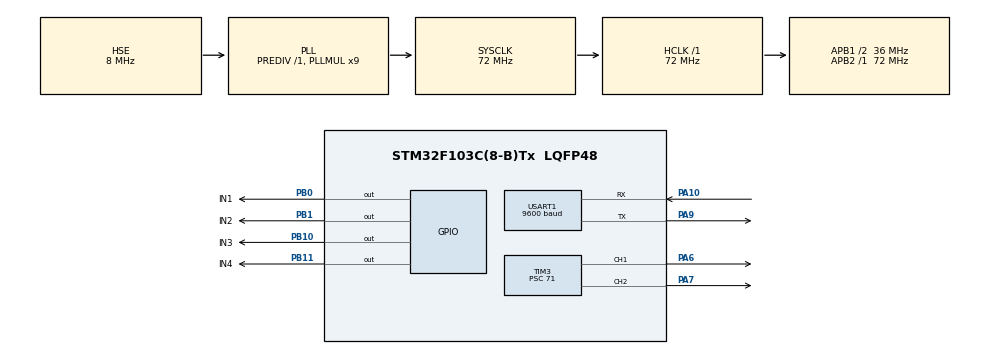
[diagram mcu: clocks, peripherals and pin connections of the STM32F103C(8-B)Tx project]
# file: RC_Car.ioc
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Mcu.Family=STM32F1
Mcu.Name=STM32F103C(8-B)Tx
Mcu.Package=LQFP48
NVIC.PriorityGroup=NVIC_PRIORITYGROUP_4
NVIC.USART1_IRQn=true\:0\:0\:false\:false\:true\:true\:true\:true
PA10.Mode=Asynchronous
PA10.Signal=USART1_RX
PA13.Mode=Serial_Wire
PA13.Signal=SYS_JTMS-SWDIO
PA14.Mode=Serial_Wire
PA14.Signal=SYS_JTCK-SWCLK
PA6.Signal=S_TIM3_CH1
PA7.Signal=S_TIM3_CH2
PA9.Mode=Asynchronous
PA9.Signal=USART1_TX
PB0.GPIO_Label=IN1
PB0.Signal=GPIO_Output
PB1.GPIO_Label=IN2
PB1.Signal=GPIO_Output
PB10.GPIO_Label=IN3
PB10.Signal=GPIO_Output
PB11.GPIO_Label=IN4
PB11.Signal=GPIO_Output
PD0-OSC_IN.Mode=HSE-External-Oscillator
PD0-OSC_IN.Signal=RCC_OSC_IN
PD1-OSC_OUT.Mode=HSE-External-Oscillator
PD1-OSC_OUT.Signal=RCC_OSC_OUT
ProjectManager.HeapSize=0x200
ProjectManager.StackSize=0x400
ProjectManager.TargetToolchain=MDK-ARM V5
RCC.AHBFreq_Value=72000000
RCC.APB1CLKDivider=RCC_HCLK_DIV2
RCC.APB1Freq_Value=36000000
RCC.APB1TimFreq_Value=72000000
RCC.APB2Freq_Value=72000000
RCC.APB2TimFreq_Value=72000000
RCC.HCLKFreq_Value=72000000
RCC.PLLMUL=RCC_PLL_MUL9
RCC.PLLSourceVirtual=RCC_PLLSOURCE_HSE
RCC.SYSCLKFreq_VALUE=72000000
RCC.SYSCLKSource=RCC_SYSCLKSOURCE_PLLCLK
RCC.USBFreq_Value=72000000
SH.S_TIM3_CH1.0=TIM3_CH1,PWM Generation1 CH1
SH.S_TIM3_CH2.0=TIM3_CH2,PWM Generation2 CH2
TIM3.Channel-PWM\ Generation1\ CH1=TIM_CHANNEL_1
TIM3.Channel-PWM\ Generation2\ CH2=TIM_CHANNEL_2
TIM3.Period=999
TIM3.Prescaler=71
USART1.BaudRate=9600
USART1.VirtualMode=VM_ASYNC
board=custom

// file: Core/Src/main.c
/* USER CODE BEGIN Header */
/**
  ******************************************************************************
  * @file           : main.c
  * @brief          : Main program body
  ******************************************************************************
  * @attention
  *
  * Copyright (c) 2026 STMicroelectronics.
  * All rights reserved.
  *
  * This software is licensed under terms that can be found in the LICENSE file
  * in the root directory of this software component.
  * If no LICENSE file comes with this software, it is provided AS-IS.
  *
  ******************************************************************************
  */
/* USER CODE END Header */
#include "main.h"

/* USER CODE BEGIN PD */

#define PWM_MAX          1000   /* ARR+1：PWM 满量程 */
#define SPEED            1000   /* 默认速度（占空比 100%）。排查阶段先拉满，确认电机能转
                                   再按需往下调；正式玩的时候建议 600~800 */
#define CAR_TIMEOUT_MS   10000  /* 指令保持时间 / 断连保护，单位 ms
                                   · 收到方向指令后车一直按该方向走，直到收到 S 或别的方向
                                   · 只有超过这么久一个合法指令都收不到，才自动停车当兜底
                                   · 手机 App 不支持连发时，这个值就等于"一次指令能走多久"：
                                     10 秒足够看清动作，手机真掉线了车也不会跑飞 */
#define SPEED_STEP       111    /* 档位 1~9 每档对应的 PWM 值（9×111≈999） */
#define SPEED_MIN        300    /* 最低运行速度。低于这个占空比电机维持不住转动
                                   （实测 250 即约 1V 只能空响，转不起来） */
#define KICK_MS          150    /* 起步 boost 持续时间，单位 ms
                                   从静止切换运动时先给满占空比冲刺这么久，
                                   帮电机突破静摩擦，之后回落到目标档位 */

/* 调试回显开关：1=手机发什么字符，单片机就原样发回去（用来确认蓝牙链路双向通）
   验收阶段保持 1；车能正常开了以后改成 0，模组就只会"听"不会"说" */
#define DEBUG_UART_ECHO  1

/* 每秒心跳：1=单片机每秒往手机发一次 "OK\r\n"
   注意这会和回显混在一起，手机屏幕上会一直刷。排查阶段够用了，现在关掉 */
#define DEBUG_UART_HEARTBEAT 0

/* ===== 串口波特率 =====
   2026-11-01 晚：由 9600 降到 2400。
   原因：模块 TXD 是弱输出（空载实测 0.99V，加上 MCU 内部 40k 上拉才 3.27V），
         高电平全靠内部弱上拉拉起来，边沿上升很慢。9600 下每位只有 104us，
         采样点被慢边沿拖到位的交界处，实测几乎每个字节都错 1 个 bit
         （F->B、L->D、R->V、9->非法字符），错误率接近 100%。
   2400 波特率下每位 417us，慢边沿有充足时间充到位，抗这种问题的余量是 9600 的 4 倍。
   ⚠️ 改完必须同步把 HC-05 波特率也改掉：AT+UART=2400,0,0
   注意：本值必须和模块一致，否则一个字节都收不到 */
#define UART_BAUD_TEST   2400

/* ===== 静默诊断开关 =====
   置 1：单片机完全不发任何串口数据，只用板载 LED 快闪表示程序在跑。
         2026-11-01 已验证结论：静默时手机不再刷乱码 → 乱码确实是单片机发出的数据
   置 0：关闭静默（现在已定位完成，改回 0） */
#define UART_SILENT_TEST 0

/* ===== 波特率自动扫描（当前 = 1，正在找模块真正的波特率）=====
   置 1：固件每 5 秒自动换一个波特率，同时发 "OK"，用 LED 闪几下表示当前是第几个：
             1 = 9600     2 = 19200    3 = 38400
             4 = 57600    5 = 115200   6 = 4800
         手机里出现干干净净的 "OK" 时，回想 LED 刚才闪了几下，就知道模块是多少。
   置 0：关闭扫描（找到正确值后，把 UART_BAUD_TEST 改成它，再把这个改 0） */
#define UART_SCAN_MODE   0

/* ===== 单片机串口自检（当前 = 0，已完成使命）=====
   2026-11-01 结论：自检通过（PC13 每 2 秒快闪 3 下）→ PA9/PA10 收发正常。
   同日用 USB-TTL 直连模块跑 AT 指令，8 条全回 OK（固件 2.0-20100601，
   UART=9600,0,0，ROLE=0，PSWD=1234）→ 模块也是好的。
   所以现在改回 0，进入正常工作模式。 */
#define UART_SELFTEST_MODE 0

/* USER CODE END PD */

TIM_HandleTypeDef htim3;

UART_HandleTypeDef huart1;

/* USER CODE BEGIN PV */

uint8_t  rx_byte;                    /* 串口中断每收到 1 字节就存这里 */
volatile uint8_t  car_cmd = 'S';     /* 最新收到的指令（volatile：中断和主循环共享） */
volatile uint32_t last_cmd_tick = 0; /* 最后一次收到指令的时刻（ms） */

/* 收到"任意"字节的累计数（不管合不合法、不管是不是噪声）。
   主循环盯它变化与否，就能判断线上到底有没有数据进来 —— 这是排查链路的关键仪表 */
volatile uint32_t rx_any_cnt = 0;

static uint16_t g_speed = SPEED;     /* 当前速度 */
/* 注意必须是 int8_t（有符号）：要能存 -1。用 uint8_t 存 -1 会变成 255，后退永远失效 */
static int8_t   g_dir   = 0;         /* 当前方向：0停 1前 -1后 2左 3右 */

#if DEBUG_UART_ECHO
volatile uint8_t echo_pending = 0;   /* 中断置 1，主循环负责把收到的字符发回手机 */
volatile uint8_t echo_char    = 0;   /* 要回显的字符 */
#endif

#if UART_SELFTEST_MODE
volatile uint32_t selftest_rx_cnt = 0;   /* 自检时：成功收回来的 0x55 计数 */
#endif

/* USER CODE END PV */

void SystemClock_Config(void);
static void MX_GPIO_Init(void);
static void MX_TIM3_Init(void);
static void MX_USART1_UART_Init(void);
/* USER CODE BEGIN PFP */

static void Motor_Left(int dir);
static void Motor_Right(int dir);
static void Car_Run(int dir, uint16_t speed);
static void Car_TurnLeft(uint16_t speed);
static void Car_TurnRight(uint16_t speed);
static void Car_Stop(void);
static uint8_t Cmd_IsValid(uint8_t c);
#if UART_SCAN_MODE
static void UART_ScanApply(uint8_t idx);
#endif

/* USER CODE END PFP */

int main(void)
{

  /* MCU Configuration--------------------------------------------------------*/

  /* Reset of all peripherals, Initializes the Flash interface and the Systick. */
  HAL_Init();

  /* Configure the system clock */
  SystemClock_Config();

  /* Initialize all configured peripherals */
  MX_GPIO_Init();
  MX_TIM3_Init();
  MX_USART1_UART_Init();
  /* USER CODE BEGIN 2 */

  HAL_TIM_PWM_Start(&htim3, TIM_CHANNEL_1);
  HAL_TIM_PWM_Start(&htim3, TIM_CHANNEL_2);
  Car_Stop();

  /* 打开串口中断接收：收满 1 字节会自动调用 HAL_UART_RxCpltCallback */

  /* ---- 临时覆盖波特率（在 USER CODE 区里，CubeMX 重新生成也不会被冲掉）---- */
  huart1.Init.BaudRate = UART_BAUD_TEST;
  if (HAL_UART_Init(&huart1) != HAL_OK) { Error_Handler(); }

  /* ============ 关键修复：USART1_RX(PA10) 必须开内部上拉 ============
     CubeMX 默认把它生成成 GPIO_NOPULL（浮空输入），这是有问题的：
       · HC-05 模块的 TXD 输出串了限流电阻，驱动能力偏弱
       · 引脚浮空时，整条线（PA10 + 杜邦线 + 模块TXD）会被吊在 0.99V 左右
       · STM32 判不出高电平，UART 一个字节也解析不出来 → 看起来"完全没数据"
     佐证：同一根线上接 CH340 就能收到数据，因为 CH340 的 RXD 内部自带
           上拉电阻，把弱驱动信号拉起来了。换成 STM32 浮空输入就废了。
     注意：本段必须在 HAL_UART_Init() 之后执行，因为 MspInit 里会重新配 GPIO。
     ================================================================= */
  {
    GPIO_InitTypeDef rx_init = {0};
    rx_init.Pin  = GPIO_PIN_10;          /* USART1_RX */
    rx_init.Mode = GPIO_MODE_INPUT;
    rx_init.Pull = GPIO_PULLUP;          /* 空闲时被拉到 3.3V，才能识别起始位 */
    HAL_GPIO_Init(GPIOA, &rx_init);
  }

  HAL_UART_Receive_IT(&huart1, &rx_byte, 1);
  last_cmd_tick = HAL_GetTick();

  /* 诊断用：把板载 LED（PC13）配成输出，作为"程序还活着"的指示灯 */
  __HAL_RCC_GPIOC_CLK_ENABLE();
  {
    GPIO_InitTypeDef led_init = {0};
    led_init.Pin   = GPIO_PIN_13;
    led_init.Mode  = GPIO_MODE_OUTPUT_PP;
    led_init.Pull  = GPIO_NOPULL;
    led_init.Speed = GPIO_SPEED_FREQ_LOW;
    HAL_GPIO_Init(GPIOC, &led_init);
    HAL_GPIO_WritePin(GPIOC, GPIO_PIN_13, GPIO_PIN_SET);   /* PC13 低电平点亮，先灭掉 */
  }

  /* USER CODE END 2 */

  /* Infinite loop */
  while (1)
  {

    /* USER CODE BEGIN 3 */
    uint8_t cmd = car_cmd;            /* 先拷贝一份，避免读的过程中被中断改掉 */

    /* ================= 板载 LED 诊断仪表（PC13，低电平点亮） =================
       灯默认灭，只有两种情况会亮 150ms 然后自己灭：

       ① 每 2 秒亮一次（心跳）→ 证明程序在跑、没卡死
          灯从来不亮 = 没供电 / 固件没烧进去 / 程序死在启动阶段

       ② 每收到一个串口字节就亮一次 → 证明单片机从 PA9 真收到数据了

       怎么读：
         没发数据时        → 每 2 秒稳稳闪一下         = 单片机活着
         手机发数据时      → 闪成一片、密集闪烁         = 收到了，链路通
         手机发数据时      → 还是每 2 秒一下、没变化    = 单片机压根没收到 → PA9 断了
         收到数据有闪、手机却无回显 → PA10 到模块 TXD 这条线断了
       ==================================================================== */
    static uint32_t beat_tick    = 0;   /* 心跳计时 */
    static uint32_t led_off_tick = 0;   /* 灭灯计时 */
    static uint32_t last_rx_any  = 0;   /* 上一次看到的收字节计数 */
    static uint8_t  led_on       = 0;   /* 灯当前是否亮着 */

    uint8_t want_on = 0;

    if ((HAL_GetTick() - beat_tick) >= 2000)        /* ① 心跳：每 2 秒 */
    {
      beat_tick = HAL_GetTick();
      want_on = 1;
    }

    if (rx_any_cnt != last_rx_any)                  /* ② 收到字节：来一个闪一次 */
    {
      last_rx_any = rx_any_cnt;
      want_on = 1;
    }

    if (want_on && !led_on)
    {
      HAL_GPIO_WritePin(GPIOC, GPIO_PIN_13, GPIO_PIN_RESET);   /* 低电平点亮 */
      led_on = 1;
      led_off_tick = HAL_GetTick();
    }
    else if (led_on && ((HAL_GetTick() - led_off_tick) >= 150))
    {
      HAL_GPIO_WritePin(GPIOC, GPIO_PIN_13, GPIO_PIN_SET);     /* 高电平熄灭 */
      led_on = 0;
    }

#if UART_SCAN_MODE && !UART_SELFTEST_MODE
    /* ---- 波特率自动扫描 ----
       每 5 秒换一个波特率，换的时候 LED 先闪 N 下，N 就是当前编号：
       1=9600  2=19200  3=38400  4=57600  5=115200  6=4800
       手机上看到干净的 "OK" 时，回想 LED 闪了几下即可 */
    static uint8_t  scan_idx   = 0;
    static uint32_t scan_tick  = 0;
    static uint32_t send_tick  = 0;
    static uint8_t  blink_left = 0;
    static uint32_t blink_tick = 0;
    static uint8_t  first_run  = 1;

    if (first_run)                    /* 第一轮：9600，先闪 1 下 */
    {
      first_run  = 0;
      blink_left = 2;
      blink_tick = HAL_GetTick();
      scan_tick  = HAL_GetTick();
      send_tick  = HAL_GetTick();
    }

    if ((HAL_GetTick() - scan_tick) >= 5000)
    {
      scan_tick  = HAL_GetTick();
      scan_idx   = (uint8_t)((scan_idx + 1U) % 6U);
      UART_ScanApply(scan_idx);                       /* 切波特率 */
      blink_left = (uint8_t)((scan_idx + 1U) * 2U);   /* 闪 N 下 = 翻转 2N 次 */
      blink_tick = HAL_GetTick();
      send_tick  = HAL_GetTick();
    }

    if ((blink_left > 0U) && ((HAL_GetTick() - blink_tick) >= 300))
    {
      blink_tick = HAL_GetTick();
      HAL_GPIO_TogglePin(GPIOC, GPIO_PIN_13);
      blink_left--;
    }

    if ((HAL_GetTick() - send_tick) >= 1000)          /* 每秒发一次 OK */
    {
      send_tick = HAL_GetTick();
      if (HAL_UART_Transmit(&huart1, (uint8_t *)"OK\r\n", 4, 50) != HAL_OK)
      {
        huart1.gState = HAL_UART_STATE_READY;         /* 防卡死在 BUSY_TX */
      }
    }
#endif

#if UART_SELFTEST_MODE
    /* ---- 单片机串口自检：自己发 0x55，从 PA10 收回来 ----
       前提：PA9 与 PA10 用一根杜邦线短接，蓝牙模块的数据线全部拔掉 */
    static uint32_t st_tx_tick = 0, st_chk_tick = 0, st_blink_tick = 0;
    static uint8_t  st_blink = 0;

    if ((HAL_GetTick() - st_tx_tick) >= 300)
    {
      uint8_t u = 0x55;
      st_tx_tick = HAL_GetTick();
      if (HAL_UART_Transmit(&huart1, &u, 1, 5) != HAL_OK)
      {
        huart1.gState = HAL_UART_STATE_READY;
      }
    }

    if ((HAL_GetTick() - st_chk_tick) >= 2000)   /* 每 2 秒结算一次 */
    {
      st_chk_tick = HAL_GetTick();
      st_blink = (selftest_rx_cnt >= 3U) ? 6U : 2U;   /* 通：翻转6次(闪3下)；不通：翻转2次(闪1下) */
      selftest_rx_cnt = 0;
      st_blink_tick = HAL_GetTick();
    }

    if ((st_blink > 0U) && ((HAL_GetTick() - st_blink_tick) >= 120))
    {
      st_blink_tick = HAL_GetTick();
      HAL_GPIO_TogglePin(GPIOC, GPIO_PIN_13);
      st_blink--;
    }
#endif

#if UART_SILENT_TEST
    /* ---- 静默诊断：一个字节都不发，只用 LED 快闪表示程序在跑 ----
       如果这时候手机上还有乱码，那就跟单片机发送无关，是线路噪声/模块自己吐的 */
    static uint32_t led_tick = 0;
    if ((HAL_GetTick() - led_tick) >= 150)
    {
      led_tick = HAL_GetTick();
      HAL_GPIO_TogglePin(GPIOC, GPIO_PIN_13);
    }
#endif

#if DEBUG_UART_ECHO && !UART_SILENT_TEST && !UART_SCAN_MODE && !UART_SELFTEST_MODE
    /* ---- 0. 调试专用：回显 + 每秒心跳（链路通了以后把 DEBUG_UART_ECHO 改 0 即可关掉） ---- */
    static uint32_t dbg_tick = 0;

    if (echo_pending)                 /* 收到字符 → 原样发回手机 */
    {
      uint8_t ch = echo_char;
      echo_pending = 0;
      /* HAL 的已知坑：发送超时后 gState 会卡在 BUSY_TX，之后所有发送都被拒。
         所以失败后手动复位状态，否则会"突然彻底发不出去" */
      /* 超时从 5ms 放宽到 20ms：2400 波特率下 1 字节要 4.2ms，
         5ms 太贴边，偶发一次超时就会把 gState 卡死 */
      if (HAL_UART_Transmit(&huart1, &ch, 1, 20) != HAL_OK)
      {
        huart1.gState = HAL_UART_STATE_READY;
      }
    }

    if (DEBUG_UART_HEARTBEAT && (HAL_GetTick() - dbg_tick) >= 1000)   /* 每秒发一次 "OK"，验证单片机→蓝牙方向 */
    {
      dbg_tick = HAL_GetTick();
      if (HAL_UART_Transmit(&huart1, (uint8_t *)"OK\r\n", 4, 50) != HAL_OK)
      {
        huart1.gState = HAL_UART_STATE_READY;
      }
    }
#endif

    /* ---- 1. 解析指令 ---- */
    if (cmd >= '1' && cmd <= '9')     /* 1~9 = 调速，不改变行驶方向 */
    {
      g_speed = (uint16_t)(cmd - '0') * SPEED_STEP;
      /* 保底：占空比太低电机维持不住转动。有了下面的起步 boost，
         静止时低档也能起步，但运行中仍需要这个下限兜住 */
      if (g_speed < SPEED_MIN) g_speed = SPEED_MIN;
    }
    else if (cmd == '0')              /* 0 = 停车（比 1 还慢没有意义，直接当停车键用） */
    {
      g_dir = 0;
    }

    switch (cmd)
    {
      case 'F': g_dir = 1;  break;    /* 前进 */
      case 'B': g_dir = -1; break;    /* 后退 */
      case 'L': g_dir = 2;  break;    /* 原地左转 */
      case 'R': g_dir = 3;  break;    /* 原地右转 */
      case 'S': g_dir = 0;  break;    /* 停车 */
      default: break;                 /* 其他字符忽略 */
    }

    /* ---- 2. 断连保护：太久没收到指令就停车 ---- */
    if ((HAL_GetTick() - last_cmd_tick) > CAR_TIMEOUT_MS)
    {
      g_dir = 0;
    }

    /* ---- 3. 按当前方向和速度执行 ---- */
#if UART_SILENT_TEST || UART_SCAN_MODE || UART_SELFTEST_MODE
    Car_Stop();      /* 诊断模式：不管收到什么都停车，防止线上噪声把车开走 */
#else
    /* ================= 起步 boost（kick start） =================
       直流电机的启动扭矩（要克服静摩擦）远大于维持扭矩（动摩擦）。
       实测（电池 5.72V，电机端约 4V）：
         · 静止直接给 3~7 档 → 只有堵转嗡响，8 档才起得来
         · 但转起来后从 8 档降到 2 档 → 仍能维持慢速转动
       对策：从"停"切到"走"（或反向）的瞬间，先给满占空比冲刺 KICK_MS 毫秒，
             帮转子突破静摩擦，随后立即回落到用户设定的档位。
       效果：低速档从静止也能起步，同时不牺牲正常调速手感。
       ============================================================= */
    static int8_t   last_dir  = 0;      /* 上一轮的方向，用来检测"起步"这个时刻 */
    static uint8_t  kicking   = 0;      /* 是否正处于冲刺阶段 */
    static uint32_t kick_tick = 0;

    if ((g_dir != 0) && (g_dir != last_dir))   /* 起步 或 反向 → 触发冲刺 */
    {
      kicking   = 1;
      kick_tick = HAL_GetTick();
    }

    if (g_dir == 0)                            /* 停车：立刻取消冲刺 */
    {
      kicking = 0;
    }
    else if (kicking && ((HAL_GetTick() - kick_tick) >= KICK_MS))
    {
      kicking = 0;                             /* 冲刺结束，回落到目标速度 */
    }

    last_dir = g_dir;

    uint16_t out_speed = kicking ? PWM_MAX : g_speed;

    switch (g_dir)
    {
      case 1:  Car_Run(1,  out_speed);    break;
      case -1: Car_Run(-1, out_speed);    break;
      case 2:  Car_TurnLeft(out_speed);   break;
      case 3:  Car_TurnRight(out_speed);  break;
      default: Car_Stop();                break;
    }
#endif
  }
  /* USER CODE END 3 */
}

void SystemClock_Config(void)
{
  RCC_OscInitTypeDef RCC_OscInitStruct = {0};
  RCC_ClkInitTypeDef RCC_ClkInitStruct = {0};

  /** Initializes the RCC Oscillators according to the specified parameters
  * in the RCC_OscInitTypeDef structure.
  */
  RCC_OscInitStruct.OscillatorType = RCC_OSCILLATORTYPE_HSE;
  RCC_OscInitStruct.HSEState = RCC_HSE_ON;
  RCC_OscInitStruct.HSEPredivValue = RCC_HSE_PREDIV_DIV1;
  RCC_OscInitStruct.HSIState = RCC_HSI_ON;
  RCC_OscInitStruct.PLL.PLLState = RCC_PLL_ON;
  RCC_OscInitStruct.PLL.PLLSource = RCC_PLLSOURCE_HSE;
  RCC_OscInitStruct.PLL.PLLMUL = RCC_PLL_MUL9;
  if (HAL_RCC_OscConfig(&RCC_OscInitStruct) != HAL_OK)
  {
    Error_Handler();
  }

  /** Initializes the CPU, AHB and APB buses clocks
  */
  RCC_ClkInitStruct.ClockType = RCC_CLOCKTYPE_HCLK|RCC_CLOCKTYPE_SYSCLK
                              |RCC_CLOCKTYPE_PCLK1|RCC_CLOCKTYPE_PCLK2;
  RCC_ClkInitStruct.SYSCLKSource = RCC_SYSCLKSOURCE_PLLCLK;
  RCC_ClkInitStruct.AHBCLKDivider = RCC_SYSCLK_DIV1;
  RCC_ClkInitStruct.APB1CLKDivider = RCC_HCLK_DIV2;
  RCC_ClkInitStruct.APB2CLKDivider = RCC_HCLK_DIV1;

  if (HAL_RCC_ClockConfig(&RCC_ClkInitStruct, FLASH_LATENCY_2) != HAL_OK)
  {
    Error_Handler();
  }
}

static void MX_TIM3_Init(void)
{

  TIM_MasterConfigTypeDef sMasterConfig = {0};
  TIM_OC_InitTypeDef sConfigOC = {0};

  htim3.Instance = TIM3;
  htim3.Init.Prescaler = 71;
  htim3.Init.CounterMode = TIM_COUNTERMODE_UP;
  htim3.Init.Period = 999;
  htim3.Init.ClockDivision = TIM_CLOCKDIVISION_DIV1;
  htim3.Init.AutoReloadPreload = TIM_AUTORELOAD_PRELOAD_DISABLE;
  if (HAL_TIM_PWM_Init(&htim3) != HAL_OK)
  {
    Error_Handler();
  }
  sMasterConfig.MasterOutputTrigger = TIM_TRGO_RESET;
  sMasterConfig.MasterSlaveMode = TIM_MASTERSLAVEMODE_DISABLE;
  if (HAL_TIMEx_MasterConfigSynchronization(&htim3, &sMasterConfig) != HAL_OK)
  {
    Error_Handler();
  }
  sConfigOC.OCMode = TIM_OCMODE_PWM1;
  sConfigOC.Pulse = 0;
  sConfigOC.OCPolarity = TIM_OCPOLARITY_HIGH;
  sConfigOC.OCFastMode = TIM_OCFAST_DISABLE;
  if (HAL_TIM_PWM_ConfigChannel(&htim3, &sConfigOC, TIM_CHANNEL_1) != HAL_OK)
  {
    Error_Handler();
  }
  if (HAL_TIM_PWM_ConfigChannel(&htim3, &sConfigOC, TIM_CHANNEL_2) != HAL_OK)
  {
    Error_Handler();
  }
  HAL_TIM_MspPostInit(&htim3);

}

static void MX_USART1_UART_Init(void)
{

  huart1.Instance = USART1;
  huart1.Init.BaudRate = 9600;
  huart1.Init.WordLength = UART_WORDLENGTH_8B;
  huart1.Init.StopBits = UART_STOPBITS_1;
  huart1.Init.Parity = UART_PARITY_NONE;
  huart1.Init.Mode = UART_MODE_TX_RX;
  huart1.Init.HwFlowCtl = UART_HWCONTROL_NONE;
  huart1.Init.OverSampling = UART_OVERSAMPLING_16;
  if (HAL_UART_Init(&huart1) != HAL_OK)
  {
    Error_Handler();
  }

}

static void MX_GPIO_Init(void)
{
  GPIO_InitTypeDef GPIO_InitStruct = {0};

  /* GPIO Ports Clock Enable */
  __HAL_RCC_GPIOD_CLK_ENABLE();
  __HAL_RCC_GPIOA_CLK_ENABLE();
  __HAL_RCC_GPIOB_CLK_ENABLE();

  /*Configure GPIO pin Output Level */
  HAL_GPIO_WritePin(GPIOB, IN1_Pin|IN2_Pin|IN3_Pin|IN4_Pin, GPIO_PIN_RESET);

  /*Configure GPIO pins : IN1_Pin IN2_Pin IN3_Pin IN4_Pin */
  GPIO_InitStruct.Pin = IN1_Pin|IN2_Pin|IN3_Pin|IN4_Pin;
  GPIO_InitStruct.Mode = GPIO_MODE_OUTPUT_PP;
  GPIO_InitStruct.Pull = GPIO_NOPULL;
  GPIO_InitStruct.Speed = GPIO_SPEED_FREQ_LOW;
  HAL_GPIO_Init(GPIOB, &GPIO_InitStruct);

}

/* USER CODE BEGIN 4 */
static void Motor_Left(int dir)          /* 左轮方向：IN1/IN2 */
{
  if (dir > 0) {
    HAL_GPIO_WritePin(IN1_GPIO_Port, IN1_Pin, GPIO_PIN_SET);
    HAL_GPIO_WritePin(IN2_GPIO_Port, IN2_Pin, GPIO_PIN_RESET);
  } else if (dir < 0) {
    HAL_GPIO_WritePin(IN1_GPIO_Port, IN1_Pin, GPIO_PIN_RESET);
    HAL_GPIO_WritePin(IN2_GPIO_Port, IN2_Pin, GPIO_PIN_SET);
  } else {
    HAL_GPIO_WritePin(IN1_GPIO_Port, IN1_Pin, GPIO_PIN_RESET);
    HAL_GPIO_WritePin(IN2_GPIO_Port, IN2_Pin, GPIO_PIN_RESET);
  }
}

static void Motor_Right(int dir)         /* 右轮方向：IN3/IN4 */
{
  if (dir > 0) {
    HAL_GPIO_WritePin(IN3_GPIO_Port, IN3_Pin, GPIO_PIN_SET);
    HAL_GPIO_WritePin(IN4_GPIO_Port, IN4_Pin, GPIO_PIN_RESET);
  } else if (dir < 0) {
    HAL_GPIO_WritePin(IN3_GPIO_Port, IN3_Pin, GPIO_PIN_RESET);
    HAL_GPIO_WritePin(IN4_GPIO_Port, IN4_Pin, GPIO_PIN_SET);
  } else {
    HAL_GPIO_WritePin(IN3_GPIO_Port, IN3_Pin, GPIO_PIN_RESET);
    HAL_GPIO_WritePin(IN4_GPIO_Port, IN4_Pin, GPIO_PIN_RESET);
  }
}

static void Car_Run(int dir, uint16_t speed)
{
  Motor_Left(dir);
  Motor_Right(dir);
  __HAL_TIM_SET_COMPARE(&htim3, TIM_CHANNEL_1, speed);  /* 改占空比=调速 */
  __HAL_TIM_SET_COMPARE(&htim3, TIM_CHANNEL_2, speed);
}

static void Car_TurnLeft(uint16_t speed)   /* 左轮后退 + 右轮前进 = 原地左转 */
{
  Motor_Left(-1);
  Motor_Right(1);
  __HAL_TIM_SET_COMPARE(&htim3, TIM_CHANNEL_1, speed);
  __HAL_TIM_SET_COMPARE(&htim3, TIM_CHANNEL_2, speed);
}

static void Car_TurnRight(uint16_t speed)  /* 左轮前进 + 右轮后退 = 原地右转 */
{
  Motor_Left(1);
  Motor_Right(-1);
  __HAL_TIM_SET_COMPARE(&htim3, TIM_CHANNEL_1, speed);
  __HAL_TIM_SET_COMPARE(&htim3, TIM_CHANNEL_2, speed);
}

static void Car_Stop(void)
{
  Motor_Left(0);
  Motor_Right(0);
  __HAL_TIM_SET_COMPARE(&htim3, TIM_CHANNEL_1, 0);      /* 占空比归零 */
  __HAL_TIM_SET_COMPARE(&htim3, TIM_CHANNEL_2, 0);
}

/**
  * @brief  判断一个字节是不是合法指令（只认 F/B/L/R/S 和 0~9）
  *         作用：串口线上如果窜进乱码噪声，绝不能让它驱动电机
  */
static uint8_t Cmd_IsValid(uint8_t c)
{
  if (c == 'F' || c == 'B' || c == 'L' || c == 'R' || c == 'S') return 1;
  if (c >= '0' && c <= '9') return 1;
  return 0;
}

/**
  * @brief  串口接收完成回调（HAL 库在中断里调用它）
  *         收满 1 字节 → 存指令、记时间 → 立刻重新武装接收
  */
void HAL_UART_RxCpltCallback(UART_HandleTypeDef *huart)
{
  if (huart->Instance == USART1)
  {
    rx_any_cnt++;        /* 仪表：收到任何字节都记一笔，主循环靠它点灯 */

#if UART_SELFTEST_MODE
    if (rx_byte == 0x55) { selftest_rx_cnt++; }   /* 自检：数一数收回来的测试字节 */
#endif

#if DEBUG_UART_ECHO && !UART_SELFTEST_MODE
    /* 调试回显：只回显"合法指令"。
       手机发 F → 手机收到 F，说明链路双向通；
       线上窜进来的噪声字节一律不回显，手机屏幕保持干净 */
    if (Cmd_IsValid(rx_byte))
    {
      echo_char    = rx_byte;
      echo_pending = 1;
    }
#endif

    /* 关键：只有合法指令才更新指令和时间戳。
       否则线上的噪声会不断刷新 last_cmd_tick，把 800ms 断连保护彻底废掉 */
    if (Cmd_IsValid(rx_byte))
    {
      car_cmd = rx_byte;                     /* 存下收到的字符 */
      last_cmd_tick = HAL_GetTick();         /* 记录时间，用于断连保护 */
    }

    HAL_UART_Receive_IT(&huart1, &rx_byte, 1);   /* 关键：重新开一次接收 */
  }
}

/**
  * @brief  串口错误回调（溢出/帧错误/噪声都走这里）
  *         作用：线上噪声太猛时串口会溢出，HAL 默认不再自动开接收 → 从此永远收不到数据。
  *         手动清标志并重新武装，让串口能自己爬起来。
  */
void HAL_UART_ErrorCallback(UART_HandleTypeDef *huart)
{
  if (huart->Instance == USART1)
  {
    __HAL_UART_CLEAR_OREFLAG(huart);        /* 读 SR + DR，清掉溢出标志 */
    huart->RxState = HAL_UART_STATE_READY;  /* 解开可能卡在 BUSY_RX 的状态 */
    HAL_UART_Receive_IT(&huart1, &rx_byte, 1);
  }
}

#if UART_SCAN_MODE
/**
  * @brief  波特率扫描：按编号设置 USART1 的波特率
  * @param  idx 0~5，对应 9600 / 19200 / 38400 / 57600 / 115200 / 4800
  * @note   直接写 BRR 寄存器，不做 HAL 重新初始化 —— 因为 HAL_UART_Init 在串口
  *         正在发送时会返回 BUSY，而且会重配 GPIO，这样最干净也最快。
  *         USART1 挂在 APB2（72MHz），默认 16 倍过采样 → BRR = 72MHz / 波特率
  */
static void UART_ScanApply(uint8_t idx)
{
  static const uint32_t bauds[6] = {9600, 19200, 38400, 57600, 115200, 4800};

  huart1.Init.BaudRate = bauds[idx];
  huart1.Instance->BRR = (uint16_t)((72000000UL + bauds[idx] / 2U) / bauds[idx]);
}
#endif
/* USER CODE END 4 */

void Error_Handler(void)
{
  __disable_irq();
  while (1)
  {
  }
}
